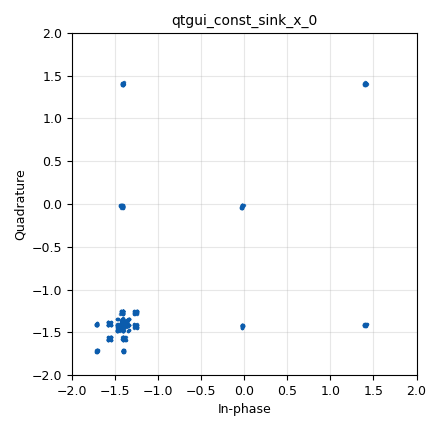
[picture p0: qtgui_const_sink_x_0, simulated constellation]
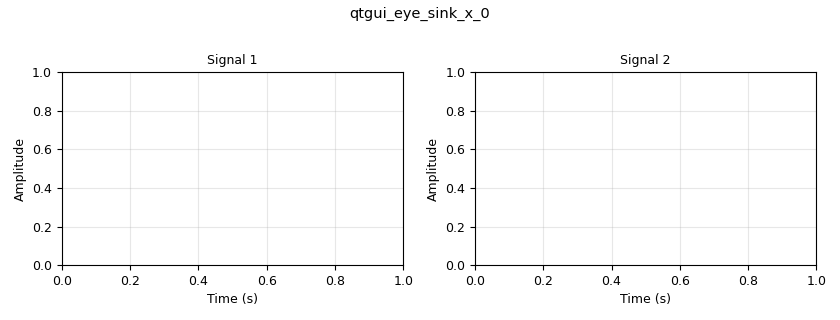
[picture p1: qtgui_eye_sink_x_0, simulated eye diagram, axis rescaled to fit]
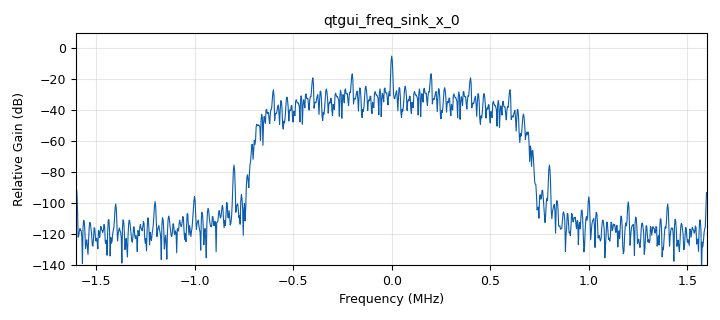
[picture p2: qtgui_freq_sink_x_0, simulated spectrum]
options:
  parameters:
    author: Junio
    generate_options: qt_gui
    id: untitled
    output_language: python
    title: Not titled yet
  states: {}

blocks:
- name: QPSK
  id: variable_constellation
  parameters:
    precision: '8'
    type: qpsk
  states: {}
- name: rolloff
  id: variable_qtgui_range
  parameters:
    start: '0.1'
    step: '.05'
    stop: '1'
    value: '.8'
    widget: dial
  states: {}
- name: samp_rate
  id: variable
  parameters:
    value: 3.2e6
  states: {}
- name: analog_random_source_x_0
  id: analog_random_source_x
  parameters:
    max: '255'
    min: '0'
    num_samps: '1024'
    repeat: 'True'
    type: byte
  states: {}
- name: blocks_packed_to_unpacked_xx_0
  id: blocks_packed_to_unpacked_xx
  parameters:
    bits_per_chunk: '2'
    endianness: gr.GR_MSB_FIRST
    type: byte
  states: {}
- name: blocks_throttle2_0
  id: blocks_throttle2
  parameters:
    samples_per_second: samp_rate
    type: byte
  states: {}
- name: digital_constellation_modulator_0
  id: digital_constellation_modulator
  parameters:
    constellation: QPSK
    differential: 'False'
    excess_bw: rolloff
    samples_per_symbol: '4'
  states: {}
- name: qtgui_const_sink_x_0
  id: qtgui_const_sink_x
  parameters:
    size: '1024'
    type: complex
  states: {}
- name: qtgui_eye_sink_x_0
  id: qtgui_eye_sink_x
  parameters:
    samp_per_symbol: round(samp_rate)
    size: '1024'
    srate: samp_rate
    type: complex
  states: {}
- name: qtgui_freq_sink_x_0
  id: qtgui_freq_sink_x
  parameters:
    bw: samp_rate
    fc: '0'
    fftsize: '1024'
    type: complex
  states: {}
- name: uhd_usrp_sink_0
  id: uhd_usrp_sink
  parameters:
    ant0: '"TX/RX"'
    bw0: 15e6
    center_freq0: 915e6
    dev_addr: '"addr=192.168.1.35"'
    gain0: '30'
    samp_rate: samp_rate
    sync: pc_clock
    type: fc32
  states: {}

connections:
- [analog_random_source_x_0, '0', blocks_throttle2_0, '0']
- [blocks_packed_to_unpacked_xx_0, '0', digital_constellation_modulator_0, '0']
- [blocks_throttle2_0, '0', blocks_packed_to_unpacked_xx_0, '0']
- [digital_constellation_modulator_0, '0', qtgui_const_sink_x_0, '0']
- [digital_constellation_modulator_0, '0', qtgui_eye_sink_x_0, '0']
- [digital_constellation_modulator_0, '0', qtgui_freq_sink_x_0, '0']
- [digital_constellation_modulator_0, '0', uhd_usrp_sink_0, '0']

metadata:
  file_format: 1
  grc_version: 3.10.11.0
